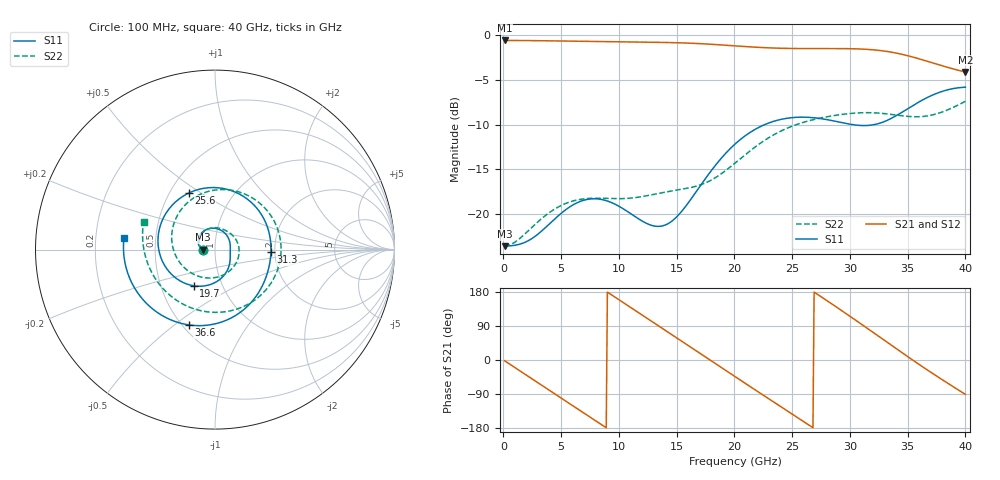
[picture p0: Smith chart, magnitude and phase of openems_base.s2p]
! B_s8_L1L3_bd_d300: L1→L3, back-drilled to 0.2 mm below L3, drill Ø0.3
! stackup: 8-layer 1.6 mm FR-4 (generic)
! ports: 1, 2
! openEMS 0.37.0, staircase, base mesh (dfine 0.035 mm), 637065 cells
# Hz S RI R 50
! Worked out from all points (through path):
!   400 points, 100 MHz to 40 GHz, reference 50 ohm
!   highest |S21| = -0.59 dB at 100 MHz (marker M1); lowest = -4.1 dB at 40 GHz (marker M2)
!   group delay of S21, straight-line fit = 56.4 ps
!   lowest |S11| = -23.6 dB at 100 MHz (marker M3), VSWR 1.14, Z = 43.8 + j0.0153 ohm
!   |S11| at or under -10 dB: start of sweep to 22.64 GHz; 30.18 GHz to 32.15 GHz (1.973 GHz wide, 6.33 % of centre)
!   |S22| runs from -23.6 to -7.4 dB; largest |S21 - S12| = 0.01
!   S11 on the Smith chart (normalised r, x): 100 MHz: 0.88, +0.00; 19.7 GHz: 0.73, -0.31; 25.6 GHz: 0.62, +0.45; 31.3 GHz: 1.90, -0.06; 36.6 GHz: 0.54, -0.56; 40 GHz: 0.32, +0.06
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1e8  -0.066 0.000174  0.9333 -0.0329  0.9333 -0.0328  -0.066 0.000155
1.8e9  -0.069 0.00289  0.7522 -0.5517  0.7525 -0.5513  -0.0761 0.00859
3.7e9  -0.0835 0.0134  0.2487 -0.8962  0.2497 -0.8959  -0.0883 0.044
5.2e9  -0.0942 0.0423  -0.234 -0.897  -0.2326 -0.8973  -0.0764 0.0833
6.8e9  -0.0777 0.0893  -0.6722 -0.6332  -0.6708 -0.6346  -0.0402 0.1141
8.4e9  -0.0218 0.1187  -0.9028 -0.1791  -0.9023 -0.1815  0.00445 0.1222
9.9e9  0.0402 0.1037  -0.8685 0.2968  -0.8695 0.2942  0.0422 0.114
1.18e10  0.0817 0.0442  -0.4972 0.7678  -0.5 0.766  0.0857 0.0901
1.34e10  0.0851 -0.00261  -0.0102 0.9115  -0.0142 0.9115  0.1203 0.0493
1.5e10  0.0848 -0.0455  0.4774 0.771  0.4737 0.7738  0.134 -0.0215
1.68e10  0.0671 -0.1186  0.8344 0.3316  0.8335 0.3363  0.0848 -0.1157
1.97e10  -0.1186 -0.2017  0.6985 -0.5254  0.7017 -0.5221  -0.1284 -0.1324
2.01e10  -0.1557 -0.1923  0.6158 -0.6152  0.6194 -0.6122  -0.1575 -0.1125
2.28e10  -0.3174 0.0345  -0.1292 -0.84  -0.1235 -0.8409  -0.2373 0.1124
2.56e10  -0.1456 0.3155  -0.7594 -0.3621  -0.7569 -0.3683  -0.0766 0.3103
2.67e10  -0.00868 0.3457  -0.8395 -0.0491  -0.8396 -0.0561  0.0242 0.3342
2.88e10  0.2241 0.241  -0.6487 0.5356  -0.6538 0.5299  0.2196 0.2807
3.13e10  0.3116 -0.0143  0.0285 0.8336  0.0189 0.8351  0.3655 0.046
3.34e10  0.2508 -0.226  0.5895 0.5511  0.5857 0.56  0.2819 -0.2261
3.5e10  0.1048 -0.3729  0.7582 0.1195  0.7604 0.1272  0.0665 -0.3448
3.66e10  -0.1475 -0.4192  0.6545 -0.2938  0.6588 -0.2891  -0.1832 -0.3011
4e10  -0.5068 0.0673  -0.00803 -0.6213  -0.00146 -0.6219  -0.3983 0.1527
